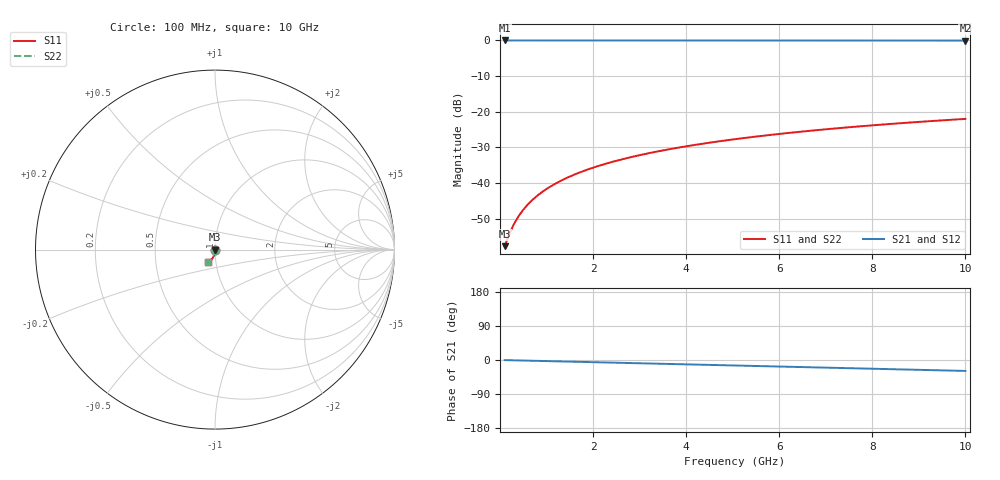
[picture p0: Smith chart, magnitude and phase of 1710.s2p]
# Hz S RI R 50.00
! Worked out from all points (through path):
!   100 points, 100 MHz to 10 GHz, reference 50 ohm
!   highest |S21| = -0.01 dB at 100 MHz (marker M1); lowest = 0.0 dB at 10 GHz (marker M2)
!   group delay of S21, straight-line fit = 8.01 ps
!   lowest |S11| = -57.7 dB at 100 MHz (marker M3), VSWR 1.00, Z = 50.1 - j0.0828 ohm
!   |S11| at or under -10 dB: start of sweep to end of sweep
!   |S22| runs from -57.7 to -22.0 dB; largest |S21 - S12| = 0
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1e8  0.00101 -0.000826  0.999 -0.005  0.999 -0.005  0.00101 -0.000826
2e8  0.00101 -0.00165  0.9989 -0.00999  0.9989 -0.00999  0.00101 -0.00165
3e8  0.000988 -0.00248  0.9988 -0.015  0.9988 -0.015  0.000988 -0.00248
4e8  0.00096 -0.0033  0.9987 -0.02  0.9987 -0.02  0.00096 -0.0033
5e8  0.000924 -0.00413  0.9986 -0.025  0.9986 -0.025  0.000924 -0.00413
6e8  0.000879 -0.00496  0.9985 -0.03  0.9985 -0.03  0.000879 -0.00496
7e8  0.000826 -0.00578  0.9983 -0.035  0.9983 -0.035  0.000826 -0.00578
9e8  0.000693 -0.00743  0.9979 -0.045  0.9979 -0.045  0.000693 -0.00743
1e9  0.000615 -0.00825  0.9976 -0.05  0.9976 -0.05  0.000615 -0.00825
1.2e9  0.000432 -0.0099  0.9971 -0.0599  0.9971 -0.0599  0.000432 -0.0099
1.5e9  9.59e-05 -0.0124  0.996 -0.0749  0.996 -0.0749  9.59e-05 -0.0124
1.8e9  -0.000315 -0.0148  0.9947 -0.0899  0.9947 -0.0899  -0.000315 -0.0148
2.1e9  -0.000799 -0.0173  0.9932 -0.1048  0.9932 -0.1048  -0.000799 -0.0173
2.5e9  -0.00156 -0.0205  0.9908 -0.1247  0.9908 -0.1247  -0.00156 -0.0205
2.9e9  -0.00245 -0.0237  0.988 -0.1445  0.988 -0.1445  -0.00245 -0.0237
3.4e9  -0.00375 -0.0277  0.984 -0.1692  0.984 -0.1692  -0.00375 -0.0277
4.2e9  -0.00623 -0.0339  0.9761 -0.2086  0.9761 -0.2086  -0.00623 -0.0339
5.1e9  -0.00961 -0.0406  0.9654 -0.2525  0.9654 -0.2525  -0.00961 -0.0406
5.9e9  -0.0131 -0.0463  0.9541 -0.2911  0.9541 -0.2911  -0.0131 -0.0463
6.7e9  -0.0171 -0.0517  0.9413 -0.3292  0.9413 -0.3292  -0.0171 -0.0517
8.4e9  -0.0269 -0.062  0.9088 -0.4084  0.9088 -0.4084  -0.0269 -0.062
1e10  -0.0376 -0.0701  0.8719 -0.4801  0.8719 -0.4801  -0.0376 -0.0701
